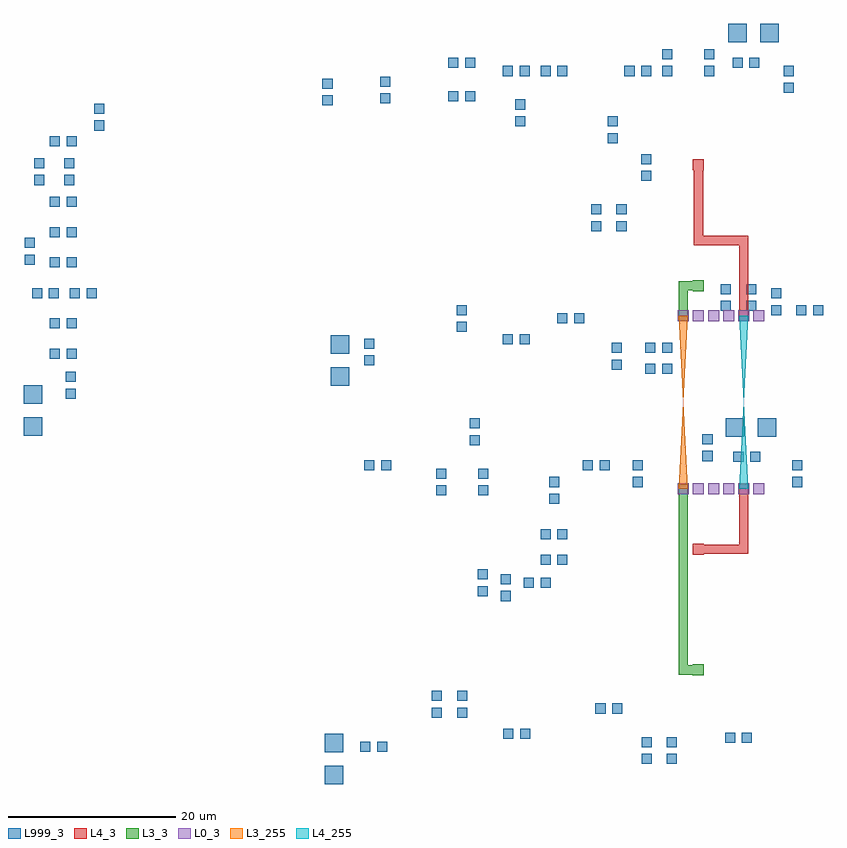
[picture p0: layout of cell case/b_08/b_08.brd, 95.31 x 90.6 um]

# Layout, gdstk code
import gdstk
lib = gdstk.Library(unit=1e-6, precision=2.5e-10)
def R(c, l, rs):  # rectangles x0, y0, x1, y1
    for r in rs: c.add(gdstk.rectangle(r[:2], r[2:], *l))
def A(c, l, x, y, w, h, nx, ny, dx, dy):  # array of equal rectangles
    R(c, l, [(x+i*dx, y+j*dy, x+i*dx+w, y+j*dy+h) for i in range(nx) for j in range(ny)])
def P(c, l, *ps):  # polygons
    for p in ps: c.add(gdstk.Polygon(p, *l))
L0_3 = (0, 3)
L3_3 = (3, 3)
L3_255 = (3, 255)
L4_3 = (4, 3)
L4_255 = (4, 255)
L999_3 = (999, 3)

case_b_08_b_08_brd = lib.new_cell('case/b_08/b_08.brd')
R(case_b_08_b_08_brd, L0_3, [(425.556,240.518,426.876,241.838), (425.556,240.518,426.876,241.838), (427.356,240.518,428.676,241.838), (427.356,240.518,428.676,241.838), (429.156,240.518,430.476,241.838), (429.156,240.518,430.476,241.838), (430.956,240.518,432.276,241.838), (430.956,240.518,432.276,241.838), (432.756,240.518,434.076,241.838), (432.756,240.518,434.076,241.838), (434.556,240.518,435.876,241.838), (434.556,240.518,435.876,241.838), (425.556,261.12,426.876,262.44), (425.556,261.12,426.876,262.44), (427.356,261.12,428.676,262.44), (427.356,261.12,428.676,262.44), (429.156,261.12,430.476,262.44), (429.156,261.12,430.476,262.44), (430.956,261.12,432.276,262.44), (430.956,261.12,432.276,262.44), (432.756,261.12,434.076,262.44), (432.756,261.12,434.076,262.44), (434.556,261.12,435.876,262.44), (434.556,261.12,435.876,262.44)])
A(case_b_08_b_08_brd, L3_3, 425.666, 219.028, 1.1, 2.9, 1, 12, 0, 1.8)
R(case_b_08_b_08_brd, L3_3, [(427.356,218.918,428.676,220.238), (425.666,219.028,428.566,220.128), (425.666,261.23,426.766,264.13), (425.666,263.03,426.766,265.93), (427.356,264.72,428.676,266.04), (425.666,264.83,428.566,265.93)])
P(case_b_08_b_08_brd, L3_255, [(425.666,261.78),(426.766,261.78),(425.666,241.178),(426.766,241.178)])
A(case_b_08_b_08_brd, L4_3, 427.466, 233.428, 2.9, 1.1, 3, 2, 1.8, 36.802)
A(case_b_08_b_08_brd, L4_3, 432.866, 233.428, 1.1, 2.9, 1, 4, 0, 1.8)
A(case_b_08_b_08_brd, L4_3, 432.866, 261.23, 1.1, 2.9, 1, 5, 0, 1.8)
A(case_b_08_b_08_brd, L4_3, 427.466, 270.23, 1.1, 2.9, 1, 5, 0, 1.8)
R(case_b_08_b_08_brd, L4_3, [(427.356,233.318,428.676,234.638), (427.356,279.12,428.676,280.44)])
P(case_b_08_b_08_brd, L4_255, [(432.866,261.78),(433.966,261.78),(432.866,241.178),(433.966,241.178)])
R(case_b_08_b_08_brd, L999_3, [(383.493,205.979,385.693,208.179), (421.243,208.379,422.443,209.579), (424.243,208.379,425.443,209.579), (383.493,209.779,385.693,211.979), (387.702,209.834,388.902,211.034), (389.702,209.834,390.902,211.034), (421.243,210.379,422.443,211.579), (424.243,210.379,425.443,211.579), (431.193,210.879,432.393,212.079), (433.193,210.879,434.393,212.079), (404.743,211.379,405.943,212.579), (406.743,211.379,407.943,212.579), (396.243,213.879,397.443,215.079), (399.243,213.879,400.443,215.079), (415.743,214.379,416.943,215.579), (417.743,214.379,418.943,215.579), (396.243,215.879,397.443,217.079), (399.243,215.879,400.443,217.079), (404.425,227.792,405.625,228.992), (401.693,228.379,402.893,229.579), (407.193,229.379,408.393,230.579), (409.193,229.379,410.393,230.579), (404.425,229.792,405.625,230.992), (401.693,230.379,402.893,231.579), (409.193,232.129,410.393,233.329), (411.193,232.129,412.393,233.329), (409.193,235.129,410.393,236.329), (411.193,235.129,412.393,236.329), (410.243,239.379,411.443,240.579), (396.743,240.379,397.943,241.579), (401.743,240.379,402.943,241.579), (410.243,241.379,411.443,242.579), (420.193,241.379,421.393,242.579), (439.193,241.379,440.393,242.579), (396.743,242.379,397.943,243.579), (401.743,242.379,402.943,243.579), (388.193,243.379,389.393,244.579), (390.193,243.379,391.393,244.579), (414.243,243.379,415.443,244.579), (416.243,243.379,417.443,244.579), (420.193,243.379,421.393,244.579), (439.193,243.379,440.393,244.579), (432.193,244.379,433.393,245.579), (434.193,244.379,435.393,245.579), (428.493,244.479,429.693,245.679), (400.743,246.379,401.943,247.579), (428.493,246.479,429.693,247.679), (431.293,247.379,433.493,249.579), (435.093,247.379,437.293,249.579), (347.585,247.506,349.785,249.706), (400.743,248.379,401.943,249.579), (347.585,251.306,349.785,253.506), (352.585,251.906,353.785,253.106), (384.193,253.479,386.393,255.679), (352.585,253.906,353.785,255.106), (421.693,254.879,422.893,256.079), (423.693,254.879,424.893,256.079), (417.693,255.379,418.893,256.579), (388.193,255.879,389.393,257.079), (350.693,256.689,351.893,257.889), (352.693,256.689,353.893,257.889), (384.193,257.279,386.393,259.479), (417.693,257.379,418.893,258.579), (421.693,257.379,422.893,258.579), (423.693,257.379,424.893,258.579), (388.193,257.879,389.393,259.079), (404.693,258.379,405.893,259.579), (406.693,258.379,407.893,259.579), (399.193,259.879,400.393,261.079), (350.693,260.298,351.893,261.498), (352.693,260.298,353.893,261.498), (411.193,260.879,412.393,262.079), (413.193,260.879,414.393,262.079), (399.193,261.879,400.393,263.079), (436.693,261.879,437.893,263.079), (439.693,261.879,440.893,263.079), (441.693,261.879,442.893,263.079), (430.693,262.379,431.893,263.579), (433.693,262.379,434.893,263.579), (436.693,263.879,437.893,265.079), (348.585,263.906,349.785,265.106), (350.585,263.906,351.785,265.106), (353.085,263.906,354.285,265.106), (355.085,263.906,356.285,265.106), (430.693,264.379,431.893,265.579), (433.693,264.379,434.893,265.579), (350.693,267.559,351.893,268.759), (352.693,267.559,353.893,268.759), (347.693,267.879,348.893,269.079), (347.693,269.879,348.893,271.079), (350.693,271.179,351.893,272.379), (352.693,271.179,353.893,272.379), (415.243,271.879,416.443,273.079), (418.243,271.879,419.443,273.079), (415.243,273.879,416.443,275.079), (418.243,273.879,419.443,275.079), (350.693,274.809,351.893,276.009), (352.693,274.809,353.893,276.009), (348.833,277.379,350.033,278.579), (352.393,277.379,353.593,278.579), (421.193,277.879,422.393,279.079), (348.833,279.379,350.033,280.579), (352.393,279.379,353.593,280.579), (421.193,279.879,422.393,281.079), (350.693,281.999,351.893,283.199), (352.693,281.999,353.893,283.199), (417.193,282.379,418.393,283.579), (355.993,283.879,357.193,285.079), (406.193,284.379,407.393,285.579), (417.193,284.379,418.393,285.579), (355.993,285.879,357.193,287.079), (406.193,286.379,407.393,287.579), (383.193,286.879,384.393,288.079), (390.085,287.106,391.285,288.306), (398.193,287.379,399.393,288.579), (400.193,287.379,401.393,288.579), (438.193,288.379,439.393,289.579), (383.193,288.879,384.393,290.079), (390.085,289.106,391.285,290.306), (404.693,290.379,405.893,291.579), (406.693,290.379,407.893,291.579), (409.193,290.379,410.393,291.579), (411.193,290.379,412.393,291.579), (419.193,290.379,420.393,291.579), (421.193,290.379,422.393,291.579), (423.693,290.379,424.893,291.579), (428.693,290.379,429.893,291.579), (438.193,290.379,439.393,291.579), (398.193,291.379,399.393,292.579), (400.193,291.379,401.393,292.579), (432.093,291.379,433.293,292.579), (434.093,291.379,435.293,292.579), (423.693,292.379,424.893,293.579), (428.693,292.379,429.893,293.579), (431.593,294.379,433.793,296.579), (435.393,294.379,437.593,296.579)])

lib.write_gds('case_b_08_b_08.brd.gds')
